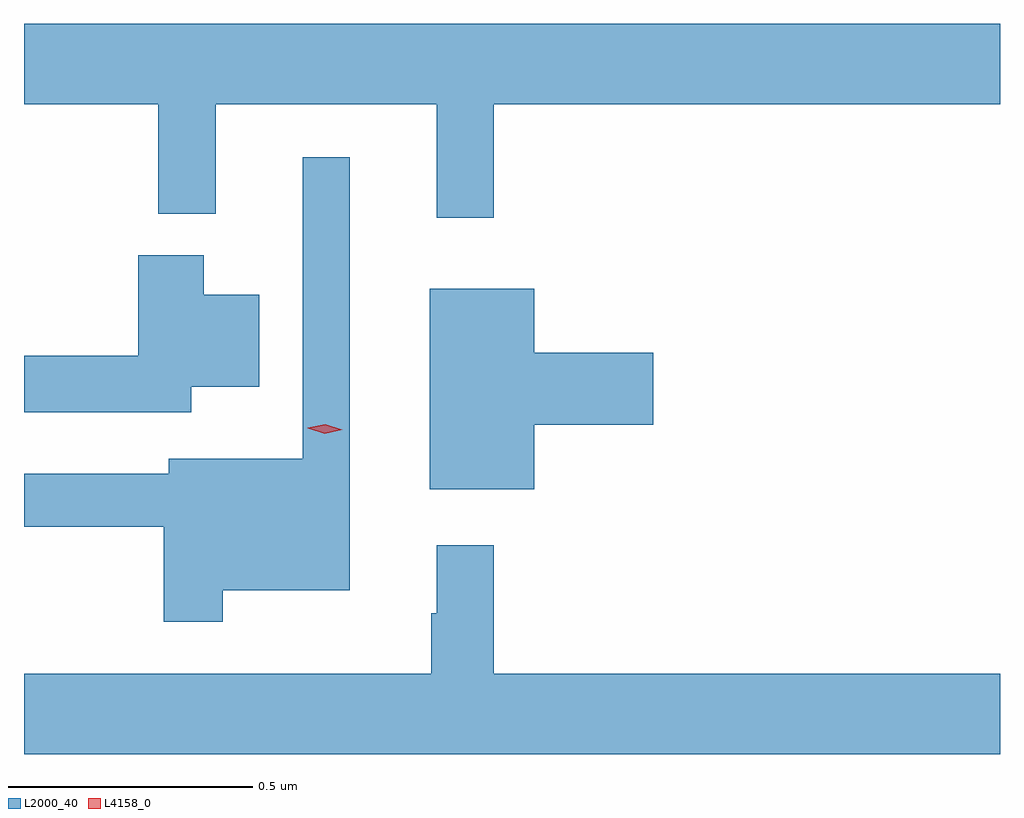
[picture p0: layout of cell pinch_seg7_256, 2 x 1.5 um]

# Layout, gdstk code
import gdstk
lib = gdstk.Library(unit=1e-6, precision=1e-09)
def P(c, l, *ps):  # polygons
    for p in ps: c.add(gdstk.Polygon(p, *l))
L2000_40 = (2000, 40)
L4158_0 = (4158, 0)

pinch_seg7_256 = lib.new_cell('pinch_seg7_256')
P(pinch_seg7_256, L2000_40, [(829.187,1067.216),(830.224,1067.216),(830.224,1067.38),(828.224,1067.38),(828.224,1067.216),(828.499,1067.216),(828.499,1066.991),(828.617,1066.991),(828.617,1067.216),(829.07,1067.216),(829.07,1066.983),(829.187,1066.983)],
  [(828.631,1066.22),(828.892,1066.22),(828.892,1067.107),(828.795,1067.107),(828.795,1066.489),(828.521,1066.489),(828.521,1066.458),(828.224,1066.458),(828.224,1066.35),(828.51,1066.35),(828.51,1066.155),(828.631,1066.155)],
  [(828.567,1066.637),(828.706,1066.637),(828.706,1066.825),(828.592,1066.825),(828.592,1066.906),(828.458,1066.906),(828.458,1066.7),(828.224,1066.7),(828.224,1066.584),(828.567,1066.584)],
  [(829.27,1066.559),(829.513,1066.559),(829.513,1066.706),(829.27,1066.706),(829.27,1066.837),(829.055,1066.837),(829.055,1066.427),(829.27,1066.427)],
  [(830.224,1066.048),(829.187,1066.048),(829.187,1066.312),(829.07,1066.312),(829.07,1066.172),(829.059,1066.172),(829.059,1066.048),(828.224,1066.048),(828.224,1065.884),(830.224,1065.884)])
P(pinch_seg7_256, L4158_0, [(828.84,1066.54),(828.805,1066.552),(828.805,1066.553),(828.805,1066.553),(828.841,1066.56),(828.876,1066.548),(828.876,1066.548),(828.876,1066.548)])

lib.write_gds('pinch_seg7_256.gds')
